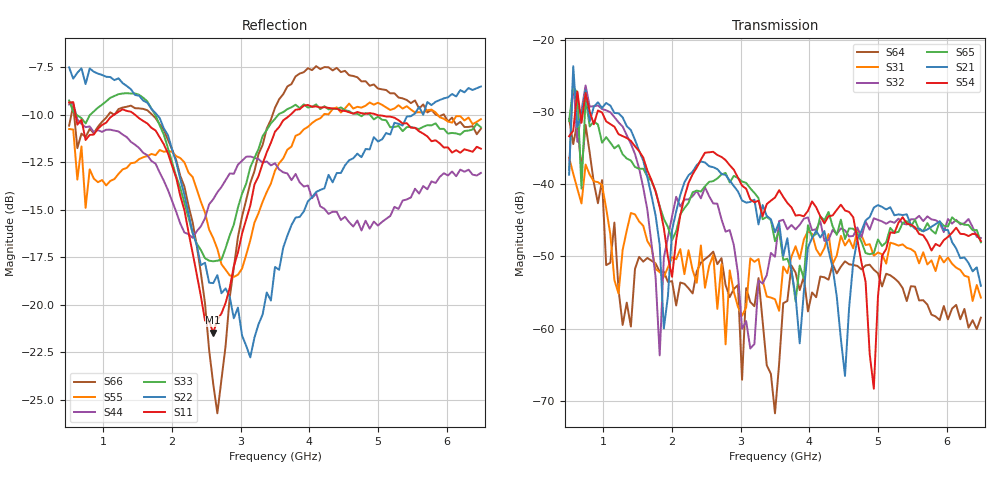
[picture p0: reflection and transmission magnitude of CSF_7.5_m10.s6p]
!Keysight Technologies,M9804A,MY58100912,A.14.10.03
!Date: Thursday, April 27, 2023 10:28:33
!Correction: S11(C  6-Port  )
!S12(C  6-Port  )
!S13(C  6-Port  )
!S14(C  6-Port  )
!S15(C  6-Port  )
!S16(C  6-Port  )
!S21(C  6-Port  )
!S22(C  6-Port  )
!S23(C  6-Port  )
!S24(C  6-Port  )
!S25(C  6-Port  )
!S26(C  6-Port  )
!S31(C  6-Port  )
!S32(C  6-Port  )
!S33(C  6-Port  )
!S34(C  6-Port  )
!S35(C  6-Port  )
!S36(C  6-Port  )
!S41(C  6-Port  )
!S42(C  6-Port  )
!S43(C  6-Port  )
!S44(C  6-Port  )
!S45(C  6-Port  )
!S46(C  6-Port  )
!S51(C  6-Port  )
!S52(C  6-Port  )
!S53(C  6-Port  )
!S54(C  6-Port  )
!S55(C  6-Port  )
!S56(C  6-Port  )
!S61(C  6-Port  )
!S62(C  6-Port  )
!S63(C  6-Port  )
!S64(C  6-Port  )
!S65(C  6-Port  )
!S66(C  6-Port  )
!S6P File: Measurement: :
# Hz S  RI  R 50
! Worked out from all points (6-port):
!   101 points, 500 MHz to 6.5 GHz, reference 50 ohm
!   strongest paths, dB at 500 MHz, 2 GHz, 3.5 GHz, 5 GHz, 6.5 GHz:
!     S54: -33.3, -52.8, -41.8, -55.6, -47.9
!     S21: -38.7, -46.4, -46.7, -42.9, -54.1
!     S65: -31.2, -47.7, -47.9, -47.7, -48.1
!     S32: -38.0, -44.4, -50.0, -44.9, -47.4
!     S31: -36.3, -50.1, -55.9, -49.5, -55.7
!     S64: -30.9, -53.4, -71.7, -52.3, -58.5
!   lowest |S11| = -21.5 dB at 2.6 GHz (marker M1), VSWR 1.18, Z = 42.5 + j2.28 ohm
!   |S11| at or under -10 dB: 594 MHz to 1.151 GHz (557.2 MHz wide, 63.9 % of centre); 1.464 GHz to 3.722 GHz (2.258 GHz wide, 87.1 % of centre); 4.985 GHz to end of sweep
